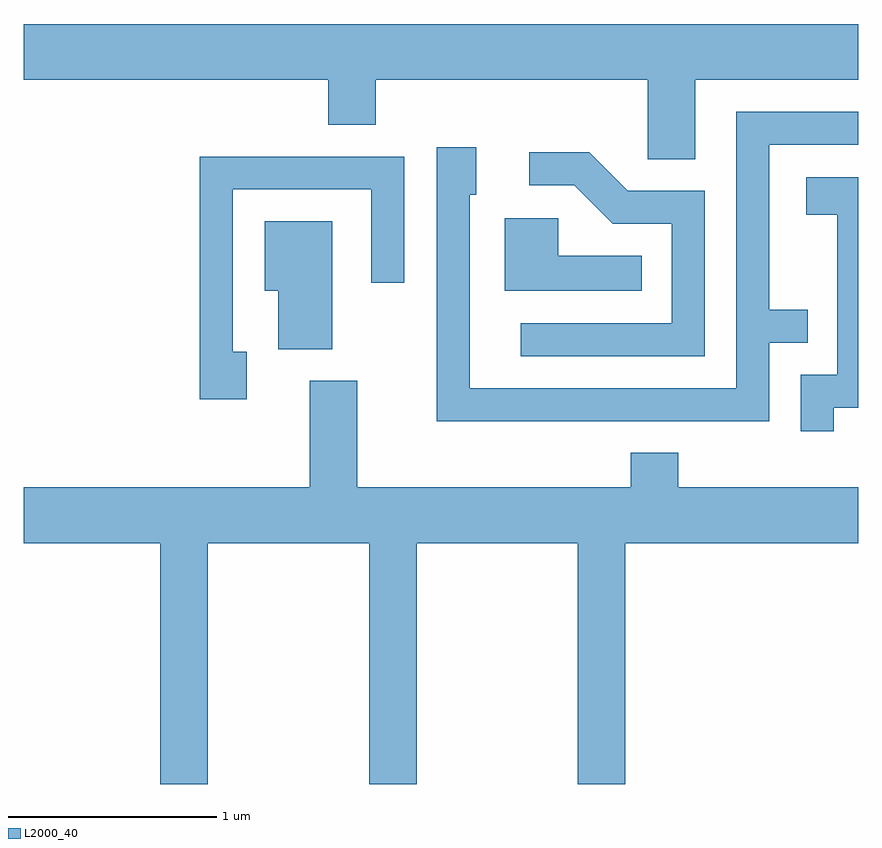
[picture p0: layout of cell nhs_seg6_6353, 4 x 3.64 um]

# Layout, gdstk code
import gdstk
lib = gdstk.Library(unit=1e-6, precision=1e-09)
def P(c, l, *ps):  # polygons
    for p in ps: c.add(gdstk.Polygon(p, *l))
L2000_40 = (2000, 40)

nhs_seg6_6353 = lib.new_cell('nhs_seg6_6353')
P(nhs_seg6_6353, L2000_40, [(380.829,1605.536),(381.611,1605.536),(381.611,1605.804),(377.611,1605.804),(377.611,1605.536),(379.071,1605.536),(379.071,1605.321),(379.299,1605.321),(379.299,1605.536),(380.601,1605.536),(380.601,1605.156),(380.829,1605.156)],
  [(381.184,1604.276),(381.368,1604.276),(381.368,1604.434),(381.184,1604.434),(381.184,1605.226),(381.611,1605.226),(381.611,1605.384),(381.026,1605.384),(381.026,1604.059),(379.749,1604.059),(379.749,1604.986),(379.779,1604.986),(379.779,1605.214),(379.591,1605.214),(379.591,1603.901),(381.184,1603.901)],
  [(380.874,1605.004),(380.507,1605.004),(380.322,1605.189),(380.033,1605.189),(380.033,1605.031),(380.249,1605.031),(380.434,1604.846),(380.716,1604.846),(380.716,1604.369),(379.993,1604.369),(379.993,1604.211),(380.874,1604.211)],
  [(378.679,1604.234),(378.614,1604.234),(378.614,1605.011),(379.276,1605.011),(379.276,1604.563),(379.434,1604.563),(379.434,1605.169),(378.456,1605.169),(378.456,1604.006),(378.679,1604.006)],
  [(381.494,1603.966),(381.611,1603.966),(381.611,1605.069),(381.361,1605.069),(381.361,1604.891),(381.511,1604.891),(381.511,1604.124),(381.336,1604.124),(381.336,1603.853),(381.494,1603.853)],
  [(380.573,1604.694),(380.174,1604.694),(380.174,1604.874),(379.916,1604.874),(379.916,1604.526),(380.573,1604.526)],
  [(379.089,1604.859),(378.766,1604.859),(378.766,1604.526),(378.831,1604.526),(378.831,1604.246),(379.089,1604.246)],
  [(378.494,1603.316),(379.266,1603.316),(379.266,1602.162),(379.494,1602.162),(379.494,1603.316),(380.266,1603.316),(380.266,1602.162),(380.494,1602.162),(380.494,1603.316),(381.611,1603.316),(381.611,1603.584),(380.749,1603.584),(380.749,1603.749),(380.521,1603.749),(380.521,1603.584),(379.209,1603.584),(379.209,1604.094),(378.981,1604.094),(378.981,1603.584),(377.611,1603.584),(377.611,1603.316),(378.266,1603.316),(378.266,1602.162),(378.494,1602.162)])

lib.write_gds('nhs_seg6_6353.gds')
